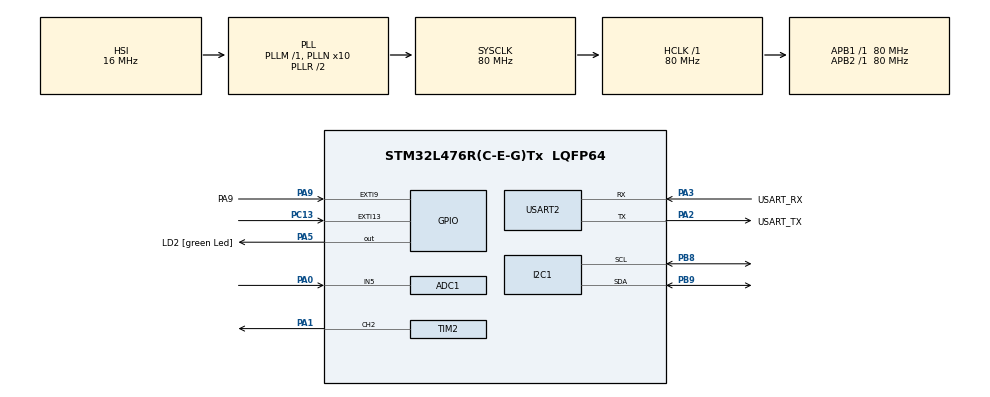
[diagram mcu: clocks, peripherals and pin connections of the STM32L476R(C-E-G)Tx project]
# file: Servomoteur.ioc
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ADC1.Channel-1\#ChannelRegularConversion=ADC_CHANNEL_5
ADC1.NbrOfConversionFlag=1
ADC1.OffsetNumber-1\#ChannelRegularConversion=ADC_OFFSET_NONE
ADC1.Rank-1\#ChannelRegularConversion=1
ADC1.Resolution=ADC_RESOLUTION_12B
ADC1.SamplingTime-1\#ChannelRegularConversion=ADC_SAMPLETIME_2CYCLES_5
ADC1.master=1
I2C1.Timing=0x10909CEC
Mcu.Family=STM32L4
Mcu.Name=STM32L476R(C-E-G)Tx
Mcu.Package=LQFP64
NVIC.EXTI9_5_IRQn=true\:0\:0\:false\:false\:true\:true\:true\:true
NVIC.PriorityGroup=NVIC_PRIORITYGROUP_4
NVIC.TIM3_IRQn=true\:0\:0\:false\:false\:true\:true\:true\:true
PA0.Signal=ADCx_IN5
PA1.Signal=S_TIM2_CH2
PA13\ (JTMS-SWDIO).GPIO_Label=TMS
PA13\ (JTMS-SWDIO).Mode=Serial_Wire
PA13\ (JTMS-SWDIO).Signal=SYS_JTMS-SWDIO
PA14\ (JTCK-SWCLK).GPIO_Label=TCK
PA14\ (JTCK-SWCLK).Mode=Serial_Wire
PA14\ (JTCK-SWCLK).Signal=SYS_JTCK-SWCLK
PA2.GPIO_Label=USART_TX
PA2.GPIO_Mode=GPIO_MODE_AF_PP
PA2.GPIO_PuPd=GPIO_NOPULL
PA2.GPIO_Speed=GPIO_SPEED_FREQ_VERY_HIGH
PA2.Mode=Asynchronous
PA2.Signal=USART2_TX
PA3.GPIO_Label=USART_RX
PA3.GPIO_Mode=GPIO_MODE_AF_PP
PA3.GPIO_PuPd=GPIO_NOPULL
PA3.GPIO_Speed=GPIO_SPEED_FREQ_VERY_HIGH
PA3.Mode=Asynchronous
PA3.Signal=USART2_RX
PA5.GPIO_Label=LD2 [green Led]
PA5.GPIO_ModeDefaultOutputPP=GPIO_MODE_OUTPUT_PP
PA5.GPIO_PuPd=GPIO_NOPULL
PA5.GPIO_Speed=GPIO_SPEED_FREQ_LOW
PA5.Signal=GPIO_Output
PA9.GPIO_Label=PA9
PA9.GPIO_PuPd=GPIO_NOPULL
PA9.Signal=GPXTI9
PB3\ (JTDO-TRACESWO).GPIO_Label=SWO
PB3\ (JTDO-TRACESWO).Signal=SYS_JTDO-SWO
PB8.Mode=I2C
PB8.Signal=I2C1_SCL
PB9.Mode=I2C
PB9.Signal=I2C1_SDA
PC13.Signal=GPXTI13
PC14-OSC32_IN\ (PC14).Mode=LSE-External-Oscillator
PC14-OSC32_IN\ (PC14).Signal=RCC_OSC32_IN
PC15-OSC32_OUT\ (PC15).Mode=LSE-External-Oscillator
PC15-OSC32_OUT\ (PC15).Signal=RCC_OSC32_OUT
PH0-OSC_IN\ (PH0).Mode=HSE-External-Oscillator
PH0-OSC_IN\ (PH0).Signal=RCC_OSC_IN
PH1-OSC_OUT\ (PH1).Mode=HSE-External-Oscillator
PH1-OSC_OUT\ (PH1).Signal=RCC_OSC_OUT
ProjectManager.HeapSize=0x200
ProjectManager.StackSize=0x400
ProjectManager.TargetToolchain=STM32CubeIDE
RCC.ADCFreq_Value=64000000
RCC.AHBFreq_Value=80000000
RCC.APB1Freq_Value=80000000
RCC.APB1TimFreq_Value=80000000
RCC.APB2Freq_Value=80000000
RCC.APB2TimFreq_Value=80000000
RCC.CortexFreq_Value=80000000
RCC.HCLKFreq_Value=80000000
RCC.HSE_VALUE=8000000
RCC.HSI_VALUE=16000000
RCC.MSI_VALUE=4000000
RCC.PLLN=10
RCC.PLLSourceVirtual=RCC_PLLSOURCE_HSI
RCC.PREFETCH_ENABLE=1
RCC.SYSCLKFreq_VALUE=80000000
RCC.SYSCLKSource=RCC_SYSCLKSOURCE_PLLCLK
RCC.USBFreq_Value=64000000
RCC.VCOOutputFreq_Value=160000000
SH.ADCx_IN5.0=ADC1_IN5,IN5-Single-Ended
SH.S_TIM2_CH2.0=TIM2_CH2,PWM Generation2 CH2
TIM2.Channel-PWM\ Generation2\ CH2=TIM_CHANNEL_2
TIM2.Period=19999
TIM2.Prescaler=79
TIM3.AutoReloadPreload=TIM_AUTORELOAD_PRELOAD_ENABLE
TIM3.Prescaler=1000
USART2.VirtualMode-Asynchronous=VM_ASYNC
VP_TIM2_VS_ClockSourceINT.Mode=Internal
VP_TIM3_VS_ClockSourceINT.Mode=Internal
board=NUCLEO-L476RG

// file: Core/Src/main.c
/* USER CODE BEGIN Header */
/**
  ******************************************************************************
  * @file           : main.c
  * @brief          : Main program body
  ******************************************************************************
  * @attention
  *
  * Copyright (c) 2023 STMicroelectronics.
  * All rights reserved.
  *
  * This software is licensed under terms that can be found in the LICENSE file
  * in the root directory of this software component.
  * If no LICENSE file comes with this software, it is provided AS-IS.
  *
  ******************************************************************************
  */
/* USER CODE END Header */
#include "main.h"
#include "adc.h"
#include "i2c.h"
#include "tim.h"
#include "usart.h"
#include "gpio.h"

/* USER CODE BEGIN Includes */
#include "calcullux.h"
#include "lib_lcd.h"
#include "string.h"
#include <stdlib.h>
#include <stdio.h>
#include <math.h>
static rgb_lcd data;
static SHT_31 sht;
/* USER CODE END Includes */

/* USER CODE BEGIN PV */
uint8_t buf[15];
  uint8_t buf1[15];
  //HAL_StatusTypeDef ret;
  float temp_c;
  float hydro_c;
  uint16_t lum_c;
  uint16_t lum_c2;
  unsigned long lux;
  static uint8_t lum[15];
  int retmes;
  int compteur;
  int aux;
  int affichagechanel = 0;
  unsigned long aux2;

const int positionMin = 750; //-45 deg
const int positionnul = 1600; //0 deg
const int positionMax = 2400; //+45 deg

uint8_t ButtonPressed=0;
uint16_t readValue;
uint16_t readValueaux;
int hyst=5;
int i=2000;
/* USER CODE END PV */

void SystemClock_Config(void);
/* USER CODE BEGIN PFP */
int calcullum(int nb,unsigned long *lumi)
   {
   	if(TLS2561_read(&lum) == -1) //fonction de lecture des valeurs de chanels A et B du TLS2561
   			return -1; // cas pour capteur defaillant ou débranché
   			else
   			{
   				lum_c = (lum[0]+lum[1]*256); //conversion des channels A:lum_c et B:lum_c2
   				lum_c2 = (lum[2]+lum[3]*256);
   				aux2 = CalculateLux(0,2, lum_c,
   						lum_c2,1); // conversion de la mesure en LUX tel que : iGain = 0,integration time =402ms,Chan A,Chan B,package type CS
   					*lumi=aux2;
   				return 0;
   			}

   }

float humidex(SHT_31 *var)

{
	return(var->temp+5.0/9.0*(6.112*pow(10,7.5*var->temp/(237.7+var->temp)))*var->hydro/100-10);
}

   int mesure(void){
		  //=========================================partie temp et humid ==============================================

		  	   	      	  retmes = sht31_read(&sht);//lecture de l'humidité et de la température dans la struct sht
		  	   	      	  if(retmes){ // mesure OK
		  	   	      	lcd_position(&hi2c1,0,0); //réglage de couleur écran en fonction du mode de fonctionnement puis affichage mesure temperature et humidité
		  	   	      	if(ButtonPressed==0)
		  	   	      		reglagecouleur(4,4,4);
		  	   	      	else if(ButtonPressed==1)
		  	   	      		reglagecouleur(0,2,10);
		  	   	      	else if(ButtonPressed==2)
		  	   			  	reglagecouleur(6,0,6);
		  	   	      	else if(ButtonPressed==3)
		  	   			  	reglagecouleur(8,4,0);
		  	   	      				lcd_print(&hi2c1,"T");
		  	   	      	  			  lcd_write(&hi2c1,0b11011111);
		  	   	      	  			  lcd_print(&hi2c1,"=              ");
		  	   	      	  			  lcd_position(&hi2c1,0,1);
		  	   	      	  			  lcd_print(&hi2c1,"H");
		  	   	      	  			  lcd_write(&hi2c1,0b00100101);
		  	   	      	  			  lcd_print(&hi2c1,"=              ");
		  	   	      	  			temp_c = 100*sht.temp;
		  	   	      	  			hydro_c = 100*(sht.hydro);
		  	   	      	  				buf[0]= (int)temp_c/1000;
		  	   	      	  				buf[1]= (int)(temp_c - buf[0]*1000)/100;
		  	   	      	  				buf[2]= (int)(temp_c - buf[0]*1000 - buf[1]*100)/10;
		  	   	      	  				buf[3]= (int)(temp_c - buf[0]*1000 - buf[1]*100 - buf[2]*10);
		  	   	      	  				lcd_position(&hi2c1,3,0);
		  	   	      	  				lcd_write(&hi2c1,0x3F & (buf[0])+0x30);
		  	   	      	  				lcd_write(&hi2c1,0x3F & (buf[1])+0x30);
		  	   	      	  				lcd_print(&hi2c1,".");
		  	   	      	  				lcd_write(&hi2c1,0x3F & (buf[2])+0x30);
		  	   	      	  				lcd_write(&hi2c1,0x3F & (buf[3])+0x30);
		  	   	      	  				if(sht.temp>50)
		  	   	      	  					{reglagecouleur(0xFF,0,0);
		  	   	      	  					lcd_print(&hi2c1," ALARM");}
		  	   	      	  				buf[4]= (int)hydro_c/1000;
		  	   	      	  				buf[5]= (int)(hydro_c - buf[4]*1000)/100;
		  	   	      	  				buf[6]= (int)(hydro_c - buf[4]*1000 - buf[5]*100)/10;
		  	   	      	  				buf[7]= (int)(hydro_c - buf[4]*1000 - buf[5]*100 - buf[6]*10);
		  	   	      	  				lcd_position(&hi2c1,3,1);
		  	   	      	  				lcd_write(&hi2c1,0x3F & (buf[4])+0x30);
		  	   	      	  				lcd_write(&hi2c1,0x3F & (buf[5])+0x30);
		  	   	      	  				lcd_print(&hi2c1,".");
		  	   	      	  				lcd_write(&hi2c1,0x3F & (buf[6])+0x30);
		  	   	      	  				lcd_write(&hi2c1,0x3F & (buf[7])+0x30);
		  	   	      	  				if(sht.hydro>100)
		  	   	      	  					{reglagecouleur(0xFF,0,0);
		  	   	      	  					lcd_print(&hi2c1," ALARM");}

		  	   	      	  				  }
		  	   	      	  		if(retmes == -1 ) // retour fonction sur erreur de transmission
		  	   	      	  		  {reglagecouleur(0xFF,0,0);
		  	   	      	  		  lcd_position(&hi2c1,0,1);
		  	   	      	  		  lcd_print(&hi2c1,"  erreur trans");
		  	   	      	  		  }
		  	   	      	  		if(retmes == -2 ) // retour fonction sur erreur de reception
		  	   	      	  	  	  {reglagecouleur(0xFF,0,0);
		  	   	      	  	  	  lcd_position(&hi2c1,0,1);
		  	   	      	  	  	  lcd_print(&hi2c1,"  erreur recep");
		  	   	      	  		  }
		  	   	      	  //===============================================================================================================

		  	   	      	  		HAL_Delay(5);

		  	   	      	  //=================================== parti lum ==================================================================

		  	   	      	  		if(calcullum(1,&lux) == -1) // fonction de mesure+conversion lumiere en LUX dans la variable lux
		  	   	      	  			{reglagecouleur(0xFF,0,0); // retour fonction sur erreur capteur
		  	   	      	  			lcd_position(&hi2c1,0,1);
		  	   	      	  			lcd_print(&hi2c1," erreur TLS2561");
		  	   	      	  			aux = 3;

		  	   	      	  			}
		  	   	      	  		else // mesure OK
		  	   	      	  			{

		  	   	      	  			//============================================================= affichage chanels ======================
		  	   	      	  			if(affichagechanel) // gestion des affichages de channels du TLS2561 pour debug, activé:affichagechanel=1, désactivé affichagechanel=0
		  	   	      	  			{
		  	   	      	  			lum_c /= 65.536;
		  	   	      	  			lum_c2 /= 65.536;

		  	   	      	  			buf[8]= (int)lum_c/1000;
		  	   	      	  			buf[9]= (int)(lum_c - buf[8]*1000)/100;
		  	   	      	  			buf[10]= (int)(lum_c - buf[8]*1000 - buf[9]*100)/10;
		  	   	      	  			buf[11]= (int)(lum_c - buf[8]*1000 - buf[9]*100 - buf[10]*10);

		  	   	      	  			buf1[8]= (int)lum_c2/1000;
		  	   	      	  			buf1[9]= (int)(lum_c2 - buf1[8]*1000)/100;
		  	   	      	  			buf1[10]= (int)(lum_c2 - buf1[8]*1000 - buf1[9]*100)/10;
		  	   	      	  			buf1[11]= (int)(lum_c2 - buf1[8]*1000 - buf1[9]*100 - buf1[10]*10);

		  	   	      	  			if(retmes){
		  	   	      	  			lcd_position(&hi2c1,9,0);
		  	   	      	  			lcd_print(&hi2c1,"C0=");
		  	   	      	  			lcd_write(&hi2c1,0x3F & (buf[8])+0x30);
		  	   	      	  			lcd_write(&hi2c1,0x3F & (buf[9])+0x30);
		  	   	      	  			lcd_write(&hi2c1,0x3F & (buf[10])+0x30);
		  	   	      	  			lcd_write(&hi2c1,0x3F & (buf[11])+0x30);
		  	   	      	  			lcd_position(&hi2c1,9,1);
		  	   	      	  			lcd_print(&hi2c1,"C1=");
		  	   	      	  			lcd_write(&hi2c1,0x3F & (buf1[8])+0x30);
		  	   	      	  			lcd_write(&hi2c1,0x3F & (buf1[9])+0x30);
		  	   	      	  			lcd_write(&hi2c1,0x3F & (buf1[10])+0x30);
		  	   	      	  			lcd_write(&hi2c1,0x3F & (buf1[11])+0x30);
		  	   	      	  			}
		  	   	      	  			}
		  	   	      	  			//========================================================================================================
		  	   	      	  			if(!affichagechanel) // affichage LUX
		  	   	      	  			{
		  	   	      	  				buf[8]= (int)lux/100000;
		  	   	      	  				buf[9]= (int)(lux - buf[8]*100000)/10000;
		  	   	      	  				buf[10]= (int)(lux - buf[8]*100000 - buf[9]*10000)/1000;
		  	   	      	  				buf[11]= (int)(lux - buf[8]*100000 - buf[9]*10000 - buf[10]*1000)/100;
		  	   	      	  				buf[12]= (int)(lux - buf[8]*100000 - buf[9]*10000 - buf[10]*1000 - buf[11]*100)/10;
		  	   	      	  				buf[13]= (int)(lux - buf[8]*100000 - buf[9]*10000 - buf[10]*1000 - buf[11]*100 - buf[12]*10);
		  	   	      	  				if(retmes)
		  	   	      	  				{
		  	   	      	  					lcd_position(&hi2c1,9,0);
		  	   	      	  					lcd_print(&hi2c1,"Lux =   ");
		  	   	      	  					lcd_position(&hi2c1,9,1);
		  	   	      	  					lcd_write(&hi2c1,0x3F & (buf[8])+0x30);
		  	   	      	  					lcd_write(&hi2c1,0x3F & (buf[9])+0x30);
		  	   	      	  					lcd_write(&hi2c1,0x3F & (buf[10])+0x30);
		  	   	      	  					lcd_write(&hi2c1,0x3F & (buf[11])+0x30);
		  	   	      	  					lcd_write(&hi2c1,0x3F & (buf[12])+0x30);
		  	   	      	  					lcd_write(&hi2c1,0x3F & (buf[13])+0x30);
		  	   	      	  				}

		  	   	      	  			}

		  	   	      	  			}
		  	   	      	  		if(aux > 0) // reinit si erreur capteur TLS2561
		  	   	      	  			{
		  	   	      	  			TLS2561_init();
		  	   	      	  			aux-=1;
		  	   	      	  			}
		  	   	      	  //====================================================================================================================
   return 1;
   }
/* USER CODE END PFP */

int main(void)
{

  /* MCU Configuration--------------------------------------------------------*/

  /* Reset of all peripherals, Initializes the Flash interface and the Systick. */
  HAL_Init();

  /* Configure the system clock */
  SystemClock_Config();

  /* Initialize all configured peripherals */
  MX_GPIO_Init();
  MX_USART2_UART_Init();
  MX_TIM2_Init();
  MX_ADC1_Init();
  MX_I2C1_Init();
  MX_TIM3_Init();
  /* USER CODE BEGIN 2 */

  // initialisation capteurs SHT31 et TLS2561 et écran LCD
     sht31_init();
     TLS2561_init();
     lcd_init(&hi2c1,&data);

     clearlcd(); // LCD vierge couleur RGB : 0xFF,0xFF ,0xFF

   lcd_position(&hi2c1,0,0);
   lcd_print(&hi2c1,"     HELLO!     ");
   HAL_Delay(2000);

  HAL_TIM_Base_Start_IT(&htim3); // start timer pour interrupt mesure

  //partie lilian

  HAL_TIM_PWM_Start(&htim2, TIM_CHANNEL_2);
  __HAL_TIM_SetCompare(&htim2, TIM_CHANNEL_2,positionnul);// initialisation à la poition 0 degré
  HAL_Delay(500);
  HAL_GPIO_EXTI_IRQHandler ( GPIO_PIN_9 );  // Réinitialiser l'interruption PIN9
  GPIO_PinState PinState;
  /* USER CODE END 2 */

  /* Infinite loop */
  /* USER CODE BEGIN WHILE */
  while (1)
  {
	  if(compteur>5)
		  {if(mesure());
		  	  compteur=0;}
	  	  //==================Mod de fonctionnement========================================
	  	      			lcd_position(&hi2c1,15,0);
	  	  //===================mod Manuel=======================================================
	  	      		  		if(ButtonPressed==0){
	  	      		  lcd_print(&hi2c1,"M");

	  	      	     	  HAL_ADC_Start(&hadc1);
	  	      	     	      HAL_ADC_PollForConversion(&hadc1,1000);
	  	      	     	      readValue = HAL_ADC_GetValue(&hadc1);
	  	      	     	      readValue = readValue/2.5;
	  	      	     	      if (readValue >1600)
	  	      	     	    	  readValue = 1600;
	  	      	     	      if((readValue>(readValueaux+hyst))||(readValue<(readValueaux-hyst))){
	  	      	     	      __HAL_TIM_SetCompare(&htim2, TIM_CHANNEL_2,(750+readValue));
	  	      	     	      readValueaux = readValue;
	  	      	     	      }
	  	      	     	      HAL_ADC_Stop(&hadc1);
	  	      		  		}
	  	   //===================mod Automatique======================================================
	  	      		  		if(ButtonPressed==1){
	  	      		  			lcd_print(&hi2c1,"A");
                       if((humidex(&sht)>22)&&(lux>300)&&(i!=positionMin))
                       	   	{
	  	      			    		  i-=10;
	  	      		  		}
                       else if((humidex(&sht)<22)&&(i!=positionMax)||(lux<300))
                       	   {
                    	   	   	   	   i+=10;
                       	   }
                       __HAL_TIM_SetCompare(&htim2, TIM_CHANNEL_2,i);
                       HAL_Delay(200);
	  	      		  		}
	  	   //===================mod Nuit======================================================
	  	      		  		if(ButtonPressed==2){
	  	      		  			lcd_print(&hi2c1,"N");

	  		    		  __HAL_TIM_SetCompare(&htim2, TIM_CHANNEL_2,positionMin);
	  		  	      			    		HAL_Delay(20);}
	  	   //===================mod Jour======================================================
	  	      		  		if(ButtonPressed==3){
	  	      		   			lcd_print(&hi2c1,"J");

		  		    		  __HAL_TIM_SetCompare(&htim2, TIM_CHANNEL_2,positionMax);
		  		  	      			    	HAL_Delay(20);}

	  	      	  		  HAL_Delay(20);

    /* USER CODE END WHILE */

  }
}

void SystemClock_Config(void)
{
  RCC_OscInitTypeDef RCC_OscInitStruct = {0};
  RCC_ClkInitTypeDef RCC_ClkInitStruct = {0};

  /** Configure the main internal regulator output voltage
  */
  if (HAL_PWREx_ControlVoltageScaling(PWR_REGULATOR_VOLTAGE_SCALE1) != HAL_OK)
  {
    Error_Handler();
  }

  /** Initializes the RCC Oscillators according to the specified parameters
  * in the RCC_OscInitTypeDef structure.
  */
  RCC_OscInitStruct.OscillatorType = RCC_OSCILLATORTYPE_HSI;
  RCC_OscInitStruct.HSIState = RCC_HSI_ON;
  RCC_OscInitStruct.HSICalibrationValue = RCC_HSICALIBRATION_DEFAULT;
  RCC_OscInitStruct.PLL.PLLState = RCC_PLL_ON;
  RCC_OscInitStruct.PLL.PLLSource = RCC_PLLSOURCE_HSI;
  RCC_OscInitStruct.PLL.PLLM = 1;
  RCC_OscInitStruct.PLL.PLLN = 10;
  RCC_OscInitStruct.PLL.PLLP = RCC_PLLP_DIV7;
  RCC_OscInitStruct.PLL.PLLQ = RCC_PLLQ_DIV2;
  RCC_OscInitStruct.PLL.PLLR = RCC_PLLR_DIV2;
  if (HAL_RCC_OscConfig(&RCC_OscInitStruct) != HAL_OK)
  {
    Error_Handler();
  }

  /** Initializes the CPU, AHB and APB buses clocks
  */
  RCC_ClkInitStruct.ClockType = RCC_CLOCKTYPE_HCLK|RCC_CLOCKTYPE_SYSCLK
                              |RCC_CLOCKTYPE_PCLK1|RCC_CLOCKTYPE_PCLK2;
  RCC_ClkInitStruct.SYSCLKSource = RCC_SYSCLKSOURCE_PLLCLK;
  RCC_ClkInitStruct.AHBCLKDivider = RCC_SYSCLK_DIV1;
  RCC_ClkInitStruct.APB1CLKDivider = RCC_HCLK_DIV1;
  RCC_ClkInitStruct.APB2CLKDivider = RCC_HCLK_DIV1;

  if (HAL_RCC_ClockConfig(&RCC_ClkInitStruct, FLASH_LATENCY_4) != HAL_OK)
  {
    Error_Handler();
  }
}

/* USER CODE BEGIN 4 */
void HAL_TIM_PeriodElapsedCallback(TIM_HandleTypeDef* htim)
{
		HAL_GPIO_TogglePin(LD2_GPIO_Port, LD2_Pin);
		compteur++;

}
void HAL_GPIO_EXTI_Callback(uint16_t GPIO_Pin)
 {
  /*//if(GPIO_Pin == PUSH_BUTTON_Pin)
    GPIO_PinState PinState;
    PinState = HAL_GPIO_ReadPin( PA9_GPIO_Port, GPIO_PIN_9);
   // PinState = HAL_GPIO_ReadPin( PUSH_BUTTON_GPIO_Port, PUSH_BUTTON_Pin);
    if ( PinState == GPIO_PIN_RESET )
      ButtonPressed = 1;
    else
      ButtonPressed = 0;*/
	if (HAL_GPIO_ReadPin( PA9_GPIO_Port, GPIO_PIN_9) == GPIO_PIN_SET)
	{
		HAL_GPIO_TogglePin(LD2_GPIO_Port, LD2_Pin);
		reglagecouleur(0x00,0xFF,0x00);
		if(ButtonPressed<3)
			ButtonPressed += 1;
		else
			ButtonPressed = 0;

	}

 }
/* USER CODE END 4 */

void Error_Handler(void)
{
  __disable_irq();
  while (1)
  {
  }
}
